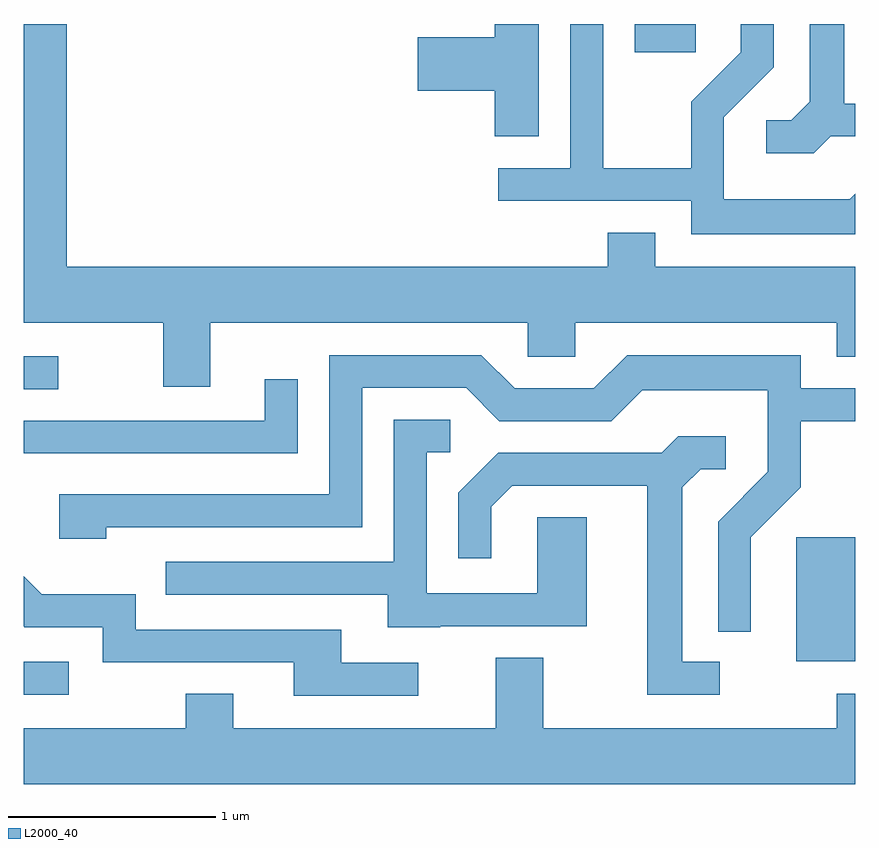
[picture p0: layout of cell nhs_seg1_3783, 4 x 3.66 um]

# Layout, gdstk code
import gdstk
lib = gdstk.Library(unit=1e-6, precision=1e-09)
def R(c, l, rs):  # rectangles x0, y0, x1, y1
    for r in rs: c.add(gdstk.rectangle(r[:2], r[2:], *l))
def P(c, l, *ps):  # polygons
    for p in ps: c.add(gdstk.Polygon(p, *l))
L2000_40 = (2000, 40)

nhs_seg1_3783 = lib.new_cell('nhs_seg1_3783')
R(nhs_seg1_3783, L2000_40, [(299.611,864.486,299.828,864.644), (303.326,864.646,303.611,865.244), (299.611,865.956,299.778,866.114), (302.551,867.576,302.844,867.712)])
P(nhs_seg1_3783, L2000_40, [(302.089,867.712),(301.876,867.712),(301.876,867.649),(301.506,867.649),(301.506,867.391),(301.876,867.391),(301.876,867.171),(302.089,867.171)],
  [(303.492,867.171),(303.611,867.171),(303.611,867.329),(303.559,867.329),(303.559,867.712),(303.391,867.712),(303.391,867.337),(303.304,867.249),(303.183,867.249),(303.183,867.091),(303.412,867.091)],
  [(303.611,866.896),(303.584,866.869),(302.979,866.869),(302.979,867.264),(303.219,867.504),(303.219,867.712),(303.061,867.712),(303.061,867.577),(302.821,867.337),(302.821,867.019),(302.399,867.019),(302.399,867.712),(302.241,867.712),(302.241,867.019),(301.893,867.019),(301.893,866.861),(302.821,866.861),(302.821,866.701),(303.611,866.701)],
  [(300.509,866.276),(302.036,866.276),(302.036,866.111),(302.264,866.111),(302.264,866.276),(303.521,866.276),(303.521,866.111),(303.611,866.111),(303.611,866.544),(302.649,866.544),(302.649,866.709),(302.421,866.709),(302.421,866.544),(299.819,866.544),(299.819,867.712),(299.611,867.712),(299.611,866.276),(300.281,866.276),(300.281,865.966),(300.509,865.966)],
  [(303.109,865.244),(303.349,865.484),(303.349,865.801),(303.611,865.801),(303.611,865.959),(303.349,865.959),(303.349,866.119),(302.514,866.119),(302.354,865.959),(301.972,865.959),(301.812,866.119),(301.081,866.119),(301.081,865.449),(299.781,865.449),(299.781,865.236),(300.009,865.236),(300.009,865.291),(301.239,865.291),(301.239,865.961),(301.739,865.961),(301.899,865.801),(302.437,865.801),(302.587,865.951),(303.191,865.951),(303.191,865.557),(302.951,865.317),(302.951,864.788),(303.109,864.788)],
  [(300.929,866.003),(300.771,866.003),(300.771,865.804),(299.611,865.804),(299.611,865.646),(300.929,865.646)],
  [(301.615,864.816),(302.319,864.816),(302.319,865.339),(302.081,865.339),(302.081,864.974),(301.549,864.974),(301.549,865.651),(301.663,865.651),(301.663,865.809),(301.391,865.809),(301.391,865.124),(300.293,865.124),(300.293,864.966),(301.361,864.966),(301.361,864.811),(301.615,864.811)],
  [(302.958,864.644),(302.779,864.644),(302.779,865.484),(302.867,865.571),(302.988,865.571),(302.988,865.729),(302.759,865.729),(302.679,865.649),(301.894,865.649),(301.701,865.457),(301.701,865.143),(301.859,865.143),(301.859,865.389),(301.962,865.491),(302.611,865.491),(302.611,864.486),(302.958,864.486)],
  [(301.508,864.639),(301.139,864.639),(301.139,864.799),(300.149,864.799),(300.149,864.969),(299.697,864.969),(299.611,865.055),(299.611,864.814),(299.614,864.811),(299.991,864.811),(299.991,864.641),(300.911,864.641),(300.911,864.481),(301.508,864.481)],
  [(303.611,864.489),(303.521,864.489),(303.521,864.324),(302.109,864.324),(302.109,864.664),(301.881,864.664),(301.881,864.324),(300.619,864.324),(300.619,864.489),(300.391,864.489),(300.391,864.324),(299.611,864.324),(299.611,864.056),(303.611,864.056)])

lib.write_gds('nhs_seg1_3783.gds')
